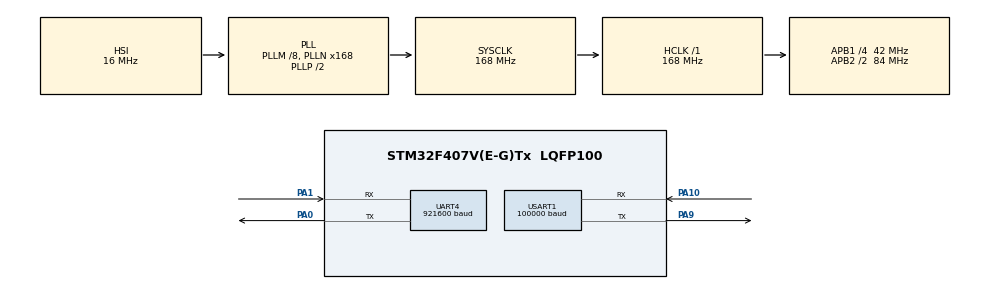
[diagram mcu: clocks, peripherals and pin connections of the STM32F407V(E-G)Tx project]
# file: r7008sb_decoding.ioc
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Dma.Request0=USART1_RX
Dma.USART1_RX.0.Direction=DMA_PERIPH_TO_MEMORY
Dma.USART1_RX.0.FIFOMode=DMA_FIFOMODE_DISABLE
Dma.USART1_RX.0.Instance=DMA2_Stream2
Dma.USART1_RX.0.MemDataAlignment=DMA_MDATAALIGN_BYTE
Dma.USART1_RX.0.MemInc=DMA_MINC_ENABLE
Dma.USART1_RX.0.Mode=DMA_CIRCULAR
Dma.USART1_RX.0.PeriphDataAlignment=DMA_PDATAALIGN_BYTE
Dma.USART1_RX.0.PeriphInc=DMA_PINC_DISABLE
Dma.USART1_RX.0.Priority=DMA_PRIORITY_LOW
Mcu.Family=STM32F4
Mcu.Name=STM32F407V(E-G)Tx
Mcu.Package=LQFP100
NVIC.DMA2_Stream2_IRQn=true\:0\:0\:false\:false\:true\:false\:true
NVIC.PriorityGroup=NVIC_PRIORITYGROUP_4
NVIC.TIM6_DAC_IRQn=true\:0\:0\:false\:false\:true\:true\:true
NVIC.TIM7_IRQn=true\:0\:0\:false\:false\:true\:true\:true
PA0-WKUP.Mode=Asynchronous
PA0-WKUP.Signal=UART4_TX
PA1.Mode=Asynchronous
PA1.Signal=UART4_RX
PA10.Mode=Asynchronous
PA10.Signal=USART1_RX
PA13.Mode=Serial_Wire
PA13.Signal=SYS_JTMS-SWDIO
PA14.Mode=Serial_Wire
PA14.Signal=SYS_JTCK-SWCLK
PA9.Mode=Asynchronous
PA9.Signal=USART1_TX
PH0-OSC_IN.Mode=HSE-External-Oscillator
PH0-OSC_IN.Signal=RCC_OSC_IN
PH1-OSC_OUT.Mode=HSE-External-Oscillator
PH1-OSC_OUT.Signal=RCC_OSC_OUT
ProjectManager.HeapSize=0x200
ProjectManager.StackSize=0x400
ProjectManager.TargetToolchain=TrueSTUDIO
RCC.48MHZClocksFreq_Value=84000000
RCC.AHBFreq_Value=168000000
RCC.APB1CLKDivider=RCC_HCLK_DIV4
RCC.APB1Freq_Value=42000000
RCC.APB1TimFreq_Value=84000000
RCC.APB2CLKDivider=RCC_HCLK_DIV2
RCC.APB2Freq_Value=84000000
RCC.APB2TimFreq_Value=168000000
RCC.CortexFreq_Value=168000000
RCC.HCLKFreq_Value=168000000
RCC.HSE_VALUE=25000000
RCC.HSI_VALUE=16000000
RCC.LSE_VALUE=32768
RCC.PLLM=8
RCC.PLLN=168
RCC.SYSCLKFreq_VALUE=168000000
RCC.SYSCLKSource=RCC_SYSCLKSOURCE_PLLCLK
RCC.VCOOutputFreq_Value=336000000
TIM6.Period=9
TIM6.Prescaler=8399
TIM7.Period=9999
TIM7.Prescaler=8399
UART4.BaudRate=921600
UART4.VirtualMode=Asynchronous
USART1.BaudRate=100000
USART1.VirtualMode=VM_ASYNC
VP_TIM6_VS_ClockSourceINT.Mode=Enable_Timer
VP_TIM7_VS_ClockSourceINT.Mode=Enable_Timer
board=custom

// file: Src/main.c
/* USER CODE BEGIN Header */
/**
  ******************************************************************************
  * @file           : main.c
  * @brief          : Main program body
  ******************************************************************************
  * @attention
  *
  * <h2><center>&copy; Copyright (c) 2019 STMicroelectronics.
  * All rights reserved.</center></h2>
  *
  * This software component is licensed by ST under BSD 3-Clause license,
  * the "License"; You may not use this file except in compliance with the
  * License. You may obtain a copy of the License at:
  *                        opensource.org/licenses/BSD-3-Clause
  *
  ******************************************************************************
  */
/* USER CODE END Header */

#include "main.h"
#include "dma.h"
#include "tim.h"
#include "usart.h"
#include "gpio.h"

/* USER CODE BEGIN Includes */
#include "r7008sb.h"
#include <stdio.h>
/* USER CODE END Includes */

void SystemClock_Config(void);
/* USER CODE BEGIN PFP */
int _write(int fd, char *str, int len)
{
	for(int i=0;i<len;i++)
	{
        //UART 4번에 데이터 전송
		HAL_UART_Transmit(&huart4, (uint8_t *)&str[i], 1, 0xFFFF);
	}
	return len;
}
/* USER CODE END PFP */

int main(void)
{

  /* MCU Configuration--------------------------------------------------------*/

  /* Reset of all peripherals, Initializes the Flash interface and the Systick. */
  HAL_Init();

  /* Configure the system clock */
  SystemClock_Config();

  /* Initialize all configured peripherals */
  MX_GPIO_Init();
  MX_DMA_Init();
  MX_TIM6_Init();
  MX_TIM7_Init();
  MX_UART4_Init();
  MX_USART1_UART_Init();
  /* USER CODE BEGIN 2 */
  HAL_UART_Receive_DMA(&huart1, r7008sb_dma_buffer, R7008SB_DMA_LEN);
  HAL_TIM_Base_Start_IT(&htim6);
  HAL_TIM_Base_Start_IT(&htim7);
  /* USER CODE END 2 */

  /* Infinite loop */
  while (1)
  {

  }
}

void SystemClock_Config(void)
{
  RCC_OscInitTypeDef RCC_OscInitStruct = {0};
  RCC_ClkInitTypeDef RCC_ClkInitStruct = {0};

  /** Configure the main internal regulator output voltage
  */
  __HAL_RCC_PWR_CLK_ENABLE();
  __HAL_PWR_VOLTAGESCALING_CONFIG(PWR_REGULATOR_VOLTAGE_SCALE1);
  /** Initializes the CPU, AHB and APB busses clocks
  */
  RCC_OscInitStruct.OscillatorType = RCC_OSCILLATORTYPE_HSI;
  RCC_OscInitStruct.HSIState = RCC_HSI_ON;
  RCC_OscInitStruct.HSICalibrationValue = RCC_HSICALIBRATION_DEFAULT;
  RCC_OscInitStruct.PLL.PLLState = RCC_PLL_ON;
  RCC_OscInitStruct.PLL.PLLSource = RCC_PLLSOURCE_HSI;
  RCC_OscInitStruct.PLL.PLLM = 8;
  RCC_OscInitStruct.PLL.PLLN = 168;
  RCC_OscInitStruct.PLL.PLLP = RCC_PLLP_DIV2;
  RCC_OscInitStruct.PLL.PLLQ = 4;
  if (HAL_RCC_OscConfig(&RCC_OscInitStruct) != HAL_OK)
  {
    Error_Handler();
  }
  /** Initializes the CPU, AHB and APB busses clocks
  */
  RCC_ClkInitStruct.ClockType = RCC_CLOCKTYPE_HCLK|RCC_CLOCKTYPE_SYSCLK
                              |RCC_CLOCKTYPE_PCLK1|RCC_CLOCKTYPE_PCLK2;
  RCC_ClkInitStruct.SYSCLKSource = RCC_SYSCLKSOURCE_PLLCLK;
  RCC_ClkInitStruct.AHBCLKDivider = RCC_SYSCLK_DIV1;
  RCC_ClkInitStruct.APB1CLKDivider = RCC_HCLK_DIV4;
  RCC_ClkInitStruct.APB2CLKDivider = RCC_HCLK_DIV2;

  if (HAL_RCC_ClockConfig(&RCC_ClkInitStruct, FLASH_LATENCY_5) != HAL_OK)
  {
    Error_Handler();
  }
}

/* USER CODE BEGIN 4 */
void HAL_TIM_PeriodElapsedCallback(TIM_HandleTypeDef *htim)
{
	if(htim -> Instance == TIM6)
	{
		read_r7008sb();
		if(r7008sb_decode_flag)
		{

		}
		else
		{

		}
	}
	else if(htim -> Instance == TIM7)
	{
	}
}
/* USER CODE END 4 */

void Error_Handler(void)
{
}

/************************ (C) COPYRIGHT STMicroelectronics *****END OF FILE****/
